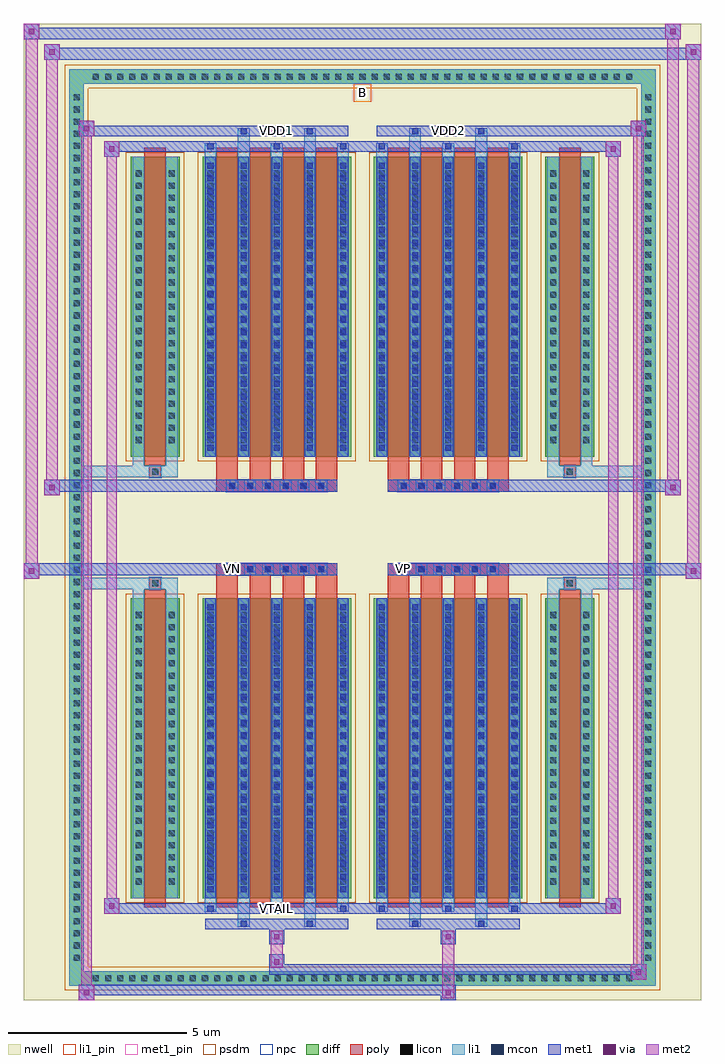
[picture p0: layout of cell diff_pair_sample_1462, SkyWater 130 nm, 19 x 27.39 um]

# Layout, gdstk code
import gdstk
lib = gdstk.Library(unit=1e-6, precision=5e-09)
def R(c, l, rs):  # rectangles x0, y0, x1, y1
    for r in rs: c.add(gdstk.rectangle(r[:2], r[2:], *l))
def A(c, l, x, y, w, h, nx, ny, dx, dy):  # array of equal rectangles
    R(c, l, [(x+i*dx, y+j*dy, x+i*dx+w, y+j*dy+h) for i in range(nx) for j in range(ny)])
def P(c, l, *ps):  # polygons
    for p in ps: c.add(gdstk.Polygon(p, *l))
nwell = (64, 20)
diff = (65, 20)
poly = (66, 20)
licon = (66, 44)
li1_pin = (67, 16)
li1 = (67, 20)
mcon = (67, 44)
met1_pin = (68, 16)
met1 = (68, 20)
via = (68, 44)
met2 = (69, 20)
psdm = (94, 20)
npc = (95, 20)

diff_pair_sample_1462 = lib.new_cell('diff_pair_sample_1462')
R(diff_pair_sample_1462, nwell, [(-9.5,-13.26,9.5,14.13), (-6.82,-11.45,-0.01,-0.805), (0.01,-11.45,6.82,-0.805), (-6.82,0.805,-0.01,11.45), (0.01,0.805,6.82,11.45)])
A(diff_pair_sample_1462, diff, -7.685, -12.86, 0.41, 0.41, 45, 2, 0.34, 25.31)
A(diff_pair_sample_1462, diff, -8.23, -12.275, 0.41, 0.41, 1, 72, 0, 0.34)
A(diff_pair_sample_1462, diff, 7.82, -12.275, 0.41, 0.41, 1, 72, 0, 0.34)
R(diff_pair_sample_1462, diff, [(-7.685,-12.86,7.685,-12.45), (-8.23,-12.275,-7.82,12.275), (7.82,-12.275,8.23,12.275), (-6.51,-10.405,-5.13,-1.985), (-4.49,-10.405,-0.32,-1.985), (0.32,-10.405,4.49,-1.985), (5.13,-10.405,6.51,-1.985), (-6.51,1.985,-5.13,10.405), (-4.49,1.985,-0.32,10.405), (0.32,1.985,4.49,10.405), (5.13,1.985,6.51,10.405), (-7.685,12.45,7.685,12.86)])
P(diff_pair_sample_1462, diff, [(8.23,12.86),(-8.23,12.86),(-8.23,-12.45),(-7.82,-12.45),(-7.82,12.45),(7.82,12.45),(7.82,-12.45),(-7.82,-12.45),(-8.23,-12.45),(-8.23,-12.86),(8.23,-12.86)])
A(diff_pair_sample_1462, poly, -4.1, -10.655, 0.6, 8.92, 4, 2, 0.93, 12.39)
A(diff_pair_sample_1462, poly, 0.71, -10.655, 0.6, 8.92, 4, 2, 0.93, 12.39)
A(diff_pair_sample_1462, poly, -4.1, -1.735, 0.6, 0.4, 4, 2, 0.93, 3.07)
A(diff_pair_sample_1462, poly, 0.71, -1.735, 0.6, 0.4, 4, 2, 0.93, 3.07)
A(diff_pair_sample_1462, poly, -3.82, -1.335, 0.33, 0.33, 6, 2, 0.5, 2.34)
A(diff_pair_sample_1462, poly, 0.99, -1.335, 0.33, 0.33, 6, 2, 0.5, 2.34)
R(diff_pair_sample_1462, poly, [(-6.12,-10.655,-5.52,-1.735), (5.52,-10.655,6.12,-1.735), (-5.985,-1.735,-5.655,-1.405), (-5.985,-1.735,-5.655,-1.405), (5.655,-1.735,5.985,-1.405), (5.655,-1.735,5.985,-1.405), (-4.1,-1.335,-0.71,-1.005), (0.71,-1.335,4.1,-1.005), (-4.1,1.005,-0.71,1.335), (0.71,1.005,4.1,1.335), (-5.985,1.405,-5.655,1.735), (-5.985,1.405,-5.655,1.735), (5.655,1.405,5.985,1.735), (5.655,1.405,5.985,1.735), (-6.12,1.735,-5.52,10.655), (5.52,1.735,6.12,10.655)])
A(diff_pair_sample_1462, licon, -7.565, -12.74, 0.17, 0.17, 45, 2, 0.34, 25.31)
A(diff_pair_sample_1462, licon, -8.11, -12.155, 0.17, 0.17, 1, 72, 0, 0.34)
A(diff_pair_sample_1462, licon, 7.94, -12.155, 0.17, 0.17, 1, 72, 0, 0.34)
A(diff_pair_sample_1462, licon, -6.37, -10.02, 0.17, 0.17, 1, 23, 0, 0.34)
A(diff_pair_sample_1462, licon, -5.44, -10.02, 0.17, 0.17, 1, 23, 0, 0.34)
A(diff_pair_sample_1462, licon, -4.35, -10.02, 0.17, 0.17, 5, 23, 0.93, 0.34)
A(diff_pair_sample_1462, licon, 0.46, -10.02, 0.17, 0.17, 5, 23, 0.93, 0.34)
A(diff_pair_sample_1462, licon, 5.27, -10.02, 0.17, 0.17, 1, 23, 0, 0.34)
A(diff_pair_sample_1462, licon, 6.2, -10.02, 0.17, 0.17, 1, 23, 0, 0.34)
A(diff_pair_sample_1462, licon, -3.74, -1.255, 0.17, 0.17, 6, 2, 0.5, 2.34)
A(diff_pair_sample_1462, licon, 1.07, -1.255, 0.17, 0.17, 6, 2, 0.5, 2.34)
A(diff_pair_sample_1462, licon, -6.37, 2.37, 0.17, 0.17, 1, 23, 0, 0.34)
A(diff_pair_sample_1462, licon, -5.44, 2.37, 0.17, 0.17, 1, 23, 0, 0.34)
A(diff_pair_sample_1462, licon, -4.35, 2.37, 0.17, 0.17, 5, 23, 0.93, 0.34)
A(diff_pair_sample_1462, licon, 0.46, 2.37, 0.17, 0.17, 5, 23, 0.93, 0.34)
A(diff_pair_sample_1462, licon, 5.27, 2.37, 0.17, 0.17, 1, 23, 0, 0.34)
A(diff_pair_sample_1462, licon, 6.2, 2.37, 0.17, 0.17, 1, 23, 0, 0.34)
R(diff_pair_sample_1462, licon, [(-5.905,-1.655,-5.735,-1.485), (5.735,-1.655,5.905,-1.485), (-5.905,1.485,-5.735,1.655), (5.735,1.485,5.905,1.655)])
R(diff_pair_sample_1462, li1_pin, [(-0.25,11.95,0.25,12.45)])
A(diff_pair_sample_1462, li1, -7.645, -12.82, 0.33, 0.33, 45, 2, 0.34, 25.31)
A(diff_pair_sample_1462, li1, -8.19, -12.235, 0.33, 0.33, 1, 72, 0, 0.34)
A(diff_pair_sample_1462, li1, 7.86, -12.235, 0.33, 0.33, 1, 72, 0, 0.34)
A(diff_pair_sample_1462, li1, -4.43, -10.78, 0.33, 0.375, 3, 2, 1.86, 21.185)
A(diff_pair_sample_1462, li1, -4.35, -10.78, 0.17, 0.17, 3, 2, 1.86, 21.39)
A(diff_pair_sample_1462, li1, 0.38, -10.78, 0.33, 0.375, 3, 2, 1.86, 21.185)
A(diff_pair_sample_1462, li1, 0.46, -10.78, 0.17, 0.17, 3, 2, 1.86, 21.39)
A(diff_pair_sample_1462, li1, -4.43, -10.405, 0.33, 8.42, 5, 2, 0.93, 12.39)
A(diff_pair_sample_1462, li1, 0.38, -10.405, 0.33, 8.42, 5, 2, 0.93, 12.39)
A(diff_pair_sample_1462, li1, -4.35, -10.24, 0.17, 0.17, 5, 23, 0.93, 0.36)
A(diff_pair_sample_1462, li1, -4.35, -10.24, 0.17, 8.09, 5, 2, 0.93, 12.39)
A(diff_pair_sample_1462, li1, 0.46, -10.24, 0.17, 0.17, 5, 23, 0.93, 0.36)
A(diff_pair_sample_1462, li1, 0.46, -10.24, 0.17, 8.09, 5, 2, 0.93, 12.39)
A(diff_pair_sample_1462, li1, -6.45, -10.1, 0.33, 0.33, 1, 23, 0, 0.34)
A(diff_pair_sample_1462, li1, -5.52, -10.1, 0.33, 0.33, 1, 23, 0, 0.34)
A(diff_pair_sample_1462, li1, -4.43, -10.1, 0.33, 0.33, 5, 23, 0.93, 0.34)
A(diff_pair_sample_1462, li1, 0.38, -10.1, 0.33, 0.33, 5, 23, 0.93, 0.34)
A(diff_pair_sample_1462, li1, 5.19, -10.1, 0.33, 0.33, 1, 23, 0, 0.34)
A(diff_pair_sample_1462, li1, 6.12, -10.1, 0.33, 0.33, 1, 23, 0, 0.34)
A(diff_pair_sample_1462, li1, -3.82, -1.335, 0.33, 0.33, 6, 2, 0.5, 2.34)
A(diff_pair_sample_1462, li1, 0.99, -1.335, 0.33, 0.33, 6, 2, 0.5, 2.34)
A(diff_pair_sample_1462, li1, -4.35, 2.15, 0.17, 0.17, 5, 23, 0.93, 0.36)
A(diff_pair_sample_1462, li1, 0.46, 2.15, 0.17, 0.17, 5, 23, 0.93, 0.36)
A(diff_pair_sample_1462, li1, -6.45, 2.29, 0.33, 0.33, 1, 23, 0, 0.34)
A(diff_pair_sample_1462, li1, -5.52, 2.29, 0.33, 0.33, 1, 23, 0, 0.34)
A(diff_pair_sample_1462, li1, -4.43, 2.29, 0.33, 0.33, 5, 23, 0.93, 0.34)
A(diff_pair_sample_1462, li1, 0.38, 2.29, 0.33, 0.33, 5, 23, 0.93, 0.34)
A(diff_pair_sample_1462, li1, 5.19, 2.29, 0.33, 0.33, 1, 23, 0, 0.34)
A(diff_pair_sample_1462, li1, 6.12, 2.29, 0.33, 0.33, 1, 23, 0, 0.34)
R(diff_pair_sample_1462, li1, [(-8.23,-12.86,-7.82,-12.45), (-8.23,-12.86,-7.82,-12.45), (-7.82,-12.86,7.82,-12.45), (7.82,-12.86,8.23,-12.45), (7.82,-12.86,8.23,-12.45), (-8.23,-12.45,-7.82,12.45), (7.82,-12.45,8.23,12.45), (-3.5,-11.21,-3.17,-10.405), (-3.42,-11.21,-3.25,-11.04), (-1.64,-11.21,-1.31,-10.405), (-1.56,-11.21,-1.39,-11.04), (1.31,-11.21,1.64,-10.405), (1.39,-11.21,1.56,-11.04), (3.17,-11.21,3.5,-10.405), (3.25,-11.21,3.42,-11.04), (-6.45,-10.405,-6.12,-1.985), (-5.52,-10.405,-5.19,-1.985), (5.19,-10.405,5.52,-1.985), (6.12,-10.405,6.45,-1.985), (-6.45,-1.985,-6.12,-1.405), (-5.52,-1.985,-5.19,-1.405), (5.19,-1.985,5.52,-1.405), (6.12,-1.985,6.45,-1.405), (-8.23,-1.735,-5.985,-1.405), (-6.45,-1.735,-5.985,-1.405), (-5.985,-1.735,-5.655,-1.405), (-5.655,-1.735,-5.19,-1.405), (5.19,-1.735,5.655,-1.405), (5.655,-1.735,5.985,-1.405), (5.655,-1.735,8.23,-1.405), (5.985,-1.735,6.45,-1.405), (-8.23,1.405,-5.985,1.735), (-6.45,1.405,-5.985,1.735), (-6.45,1.405,-6.12,1.985), (-5.985,1.405,-5.655,1.735), (-5.655,1.405,-5.19,1.735), (-5.52,1.405,-5.19,1.985), (5.19,1.405,5.655,1.735), (5.19,1.405,5.52,1.985), (5.655,1.405,5.985,1.735), (5.655,1.405,8.23,1.735), (5.985,1.405,6.45,1.735), (6.12,1.405,6.45,1.985), (-6.45,1.985,-6.12,10.405), (-5.52,1.985,-5.19,10.405), (5.19,1.985,5.52,10.405), (6.12,1.985,6.45,10.405), (-3.5,10.405,-3.17,11.21), (-1.64,10.405,-1.31,11.21), (1.31,10.405,1.64,11.21), (3.17,10.405,3.5,11.21), (-3.42,11.04,-3.25,11.21), (-1.56,11.04,-1.39,11.21), (1.39,11.04,1.56,11.21), (3.25,11.04,3.42,11.21), (-8.23,12.45,-7.82,12.86), (-8.23,12.45,-7.82,12.86), (-7.82,12.45,7.82,12.86), (7.82,12.45,8.23,12.86), (7.82,12.45,8.23,12.86)])
A(diff_pair_sample_1462, mcon, -4.35, -10.78, 0.17, 0.17, 3, 2, 1.86, 21.39)
A(diff_pair_sample_1462, mcon, 0.46, -10.78, 0.17, 0.17, 3, 2, 1.86, 21.39)
A(diff_pair_sample_1462, mcon, -4.35, -10.24, 0.17, 0.17, 5, 23, 0.93, 0.36)
A(diff_pair_sample_1462, mcon, 0.46, -10.24, 0.17, 0.17, 5, 23, 0.93, 0.36)
A(diff_pair_sample_1462, mcon, -3.74, -1.255, 0.17, 0.17, 6, 2, 0.5, 2.34)
A(diff_pair_sample_1462, mcon, 1.07, -1.255, 0.17, 0.17, 6, 2, 0.5, 2.34)
A(diff_pair_sample_1462, mcon, -4.35, 2.15, 0.17, 0.17, 5, 23, 0.93, 0.36)
A(diff_pair_sample_1462, mcon, 0.46, 2.15, 0.17, 0.17, 5, 23, 0.93, 0.36)
R(diff_pair_sample_1462, mcon, [(-3.42,-11.21,-3.25,-11.04), (-1.56,-11.21,-1.39,-11.04), (1.39,-11.21,1.56,-11.04), (3.25,-11.21,3.42,-11.04), (-3.42,11.04,-3.25,11.21), (-1.56,11.04,-1.39,11.21), (1.39,11.04,1.56,11.21), (3.25,11.04,3.42,11.21)])
R(diff_pair_sample_1462, met1_pin, [(-2.54,-10.82,-2.27,-10.55), (-3.79,-1.295,-3.52,-1.025), (1.02,-1.295,1.29,-1.025), (-2.54,11,-2.27,11.27), (2.27,11,2.54,11.27)])
A(diff_pair_sample_1462, met1, -4.41, -10.84, 0.29, 0.29, 3, 2, 1.86, 21.39)
A(diff_pair_sample_1462, met1, 0.4, -10.84, 0.29, 0.29, 3, 2, 1.86, 21.39)
A(diff_pair_sample_1462, met1, -4.41, -10.405, 0.29, 8.42, 5, 2, 0.93, 12.39)
A(diff_pair_sample_1462, met1, 0.4, -10.405, 0.29, 8.42, 5, 2, 0.93, 12.39)
A(diff_pair_sample_1462, met1, -4.41, -10.3, 0.29, 0.29, 5, 23, 0.93, 0.36)
A(diff_pair_sample_1462, met1, 0.4, -10.3, 0.29, 0.29, 5, 23, 0.93, 0.36)
A(diff_pair_sample_1462, met1, -3.8, -1.315, 0.29, 0.29, 6, 2, 0.5, 2.34)
A(diff_pair_sample_1462, met1, 1.01, -1.315, 0.29, 0.29, 6, 2, 0.5, 2.34)
A(diff_pair_sample_1462, met1, -4.41, 2.09, 0.29, 0.29, 5, 23, 0.93, 0.36)
A(diff_pair_sample_1462, met1, 0.4, 2.09, 0.29, 0.29, 5, 23, 0.93, 0.36)
R(diff_pair_sample_1462, met1, [(-7.96,-13.26,-7.53,-12.83), (2.19,-13.26,2.62,-12.83), (-7.96,-13.12,2.62,-12.83), (7.53,-12.69,7.96,-12.26), (-2.62,-12.55,7.96,-12.26), (-2.62,-12.41,-2.19,-11.98), (-2.62,-11.7,-2.19,-11.27), (2.19,-11.7,2.62,-11.27), (-4.41,-11.27,-0.4,-10.98), (-3.48,-11.27,-3.19,-10.98), (-1.62,-11.27,-1.33,-10.98), (0.4,-11.27,4.41,-10.98), (1.33,-11.27,1.62,-10.98), (3.19,-11.27,3.48,-10.98), (-7.25,-10.84,-6.82,-10.41), (-7.25,-10.84,-4.41,-10.55), (-4.41,-10.84,-0.4,-10.55), (-0.4,-10.84,0.4,-10.55), (0.4,-10.84,4.41,-10.55), (4.41,-10.84,7.25,-10.55), (6.82,-10.84,7.25,-10.41), (-9.5,-1.435,-9.07,-1.005), (9.07,-1.435,9.5,-1.005), (-9.5,-1.335,-0.71,-1.005), (-4.1,-1.335,-0.71,-1.005), (0.71,-1.335,4.1,-1.005), (0.71,-1.335,9.5,-1.005), (-8.93,0.905,-8.5,1.335), (8.5,0.905,8.93,1.335), (-8.93,1.005,-4.1,1.335), (-4.1,1.005,-0.71,1.335), (0.71,1.005,4.1,1.335), (4.1,1.005,8.93,1.335), (-7.25,10.41,-6.82,10.84), (6.82,10.41,7.25,10.84), (-7.25,10.55,-4.41,10.84), (-4.41,10.55,-0.4,10.84), (-0.4,10.55,0.4,10.84), (0.4,10.55,4.41,10.84), (4.41,10.55,7.25,10.84), (-7.96,10.98,-7.53,11.41), (-7.96,10.98,-4.41,11.27), (-4.41,10.98,-0.4,11.27), (-3.48,10.98,-3.19,11.27), (-1.62,10.98,-1.33,11.27), (0.4,10.98,4.41,11.27), (1.33,10.98,1.62,11.27), (3.19,10.98,3.48,11.27), (4.41,10.98,7.96,11.27), (7.53,10.98,7.96,11.41), (-8.93,13.13,-8.5,13.56), (-8.93,13.13,-6.82,13.46), (-6.82,13.13,6.82,13.46), (6.82,13.13,9.5,13.46), (9.07,13.13,9.5,13.56), (-9.5,13.7,-9.07,14.13), (-9.5,13.7,-6.82,14.03), (-6.82,13.7,6.82,14.03), (6.82,13.7,8.93,14.03), (8.5,13.7,8.93,14.13)])
R(diff_pair_sample_1462, via, [(-7.82,-13.12,-7.67,-12.97), (2.33,-13.12,2.48,-12.97), (7.67,-12.55,7.82,-12.4), (-2.48,-12.27,-2.33,-12.12), (-2.48,-11.56,-2.33,-11.41), (2.33,-11.56,2.48,-11.41), (-7.11,-10.7,-6.96,-10.55), (6.96,-10.7,7.11,-10.55), (-9.36,-1.295,-9.21,-1.145), (9.21,-1.295,9.36,-1.145), (-8.79,1.045,-8.64,1.195), (8.64,1.045,8.79,1.195), (-7.11,10.55,-6.96,10.7), (6.96,10.55,7.11,10.7), (-7.82,11.12,-7.67,11.27), (7.67,11.12,7.82,11.27), (-8.79,13.27,-8.64,13.42), (9.21,13.27,9.36,13.42), (-9.36,13.84,-9.21,13.99), (8.64,13.84,8.79,13.99)])
R(diff_pair_sample_1462, met2, [(-7.96,-13.26,-7.53,-12.83), (-7.89,-13.26,-7.6,11.41), (-7.6,-13.26,-7.53,-12.83), (-7.91,-13.21,-7.58,-12.88), (2.24,-13.21,2.57,-12.88), (2.24,-12.88,2.57,-11.65), (7.53,-12.69,7.96,-12.26), (7.6,-12.69,7.89,11.41), (7.89,-12.69,7.96,-12.26), (7.58,-12.64,7.91,-12.31), (-2.57,-12.36,-2.24,-12.03), (-2.57,-12.03,-2.24,-11.65), (-2.57,-11.65,-2.24,-11.32), (2.24,-11.65,2.57,-11.32), (-7.25,-10.84,-6.82,-10.41), (-7.18,-10.84,-6.89,10.84), (-6.89,-10.84,-6.82,-10.41), (6.82,-10.84,7.25,-10.41), (6.89,-10.84,7.18,10.84), (7.18,-10.84,7.25,-10.41), (-7.2,-10.79,-6.87,-10.46), (6.87,-10.79,7.2,-10.46), (-9.5,-1.435,-9.07,-1.005), (-9.45,-1.435,-9.12,14.13), (-9.12,-1.435,-9.07,-1.005), (9.07,-1.435,9.5,-1.005), (9.12,-1.435,9.45,13.56), (9.45,-1.435,9.5,-1.005), (-9.45,-1.385,-9.12,-1.055), (9.12,-1.385,9.45,-1.055), (-8.93,0.905,-8.5,1.335), (-8.88,0.905,-8.55,13.56), (-8.55,0.905,-8.5,1.335), (8.5,0.905,8.93,1.335), (8.55,0.905,8.88,14.13), (8.88,0.905,8.93,1.335), (-8.88,0.955,-8.55,1.285), (8.55,0.955,8.88,1.285), (-7.25,10.41,-6.82,10.84), (-6.89,10.41,-6.82,10.84), (6.82,10.41,7.25,10.84), (7.18,10.41,7.25,10.84), (-7.2,10.46,-6.87,10.79), (6.87,10.46,7.2,10.79), (-7.96,10.98,-7.53,11.41), (-7.6,10.98,-7.53,11.41), (7.53,10.98,7.96,11.41), (7.89,10.98,7.96,11.41), (-7.91,11.03,-7.58,11.36), (7.58,11.03,7.91,11.36), (-8.93,13.13,-8.5,13.56), (-8.55,13.13,-8.5,13.56), (9.07,13.13,9.5,13.56), (9.45,13.13,9.5,13.56), (-8.88,13.18,-8.55,13.51), (9.12,13.18,9.45,13.51), (-9.5,13.7,-9.07,14.13), (-9.12,13.7,-9.07,14.13), (8.5,13.7,8.93,14.13), (8.88,13.7,8.93,14.13), (-9.45,13.75,-9.12,14.08), (8.55,13.75,8.88,14.08)])
R(diff_pair_sample_1462, psdm, [(-6.64,-10.535,-5,-1.855), (-4.62,-10.535,-0.19,-1.855), (0.19,-10.535,4.62,-1.855), (5,-10.535,6.64,-1.855), (-6.64,1.855,-5,10.535), (-4.62,1.855,-0.19,10.535), (0.19,1.855,4.62,10.535), (5,1.855,6.64,10.535)])
P(diff_pair_sample_1462, psdm, [(8.36,12.99),(-8.36,12.99),(-8.36,-12.32),(-7.69,-12.32),(-7.69,12.32),(7.69,12.32),(7.69,-12.32),(-7.69,-12.32),(-8.36,-12.32),(-8.36,-12.99),(8.36,-12.99)])
A(diff_pair_sample_1462, npc, -3.84, -1.355, 0.37, 0.37, 6, 2, 0.5, 2.34)
A(diff_pair_sample_1462, npc, 0.97, -1.355, 0.37, 0.37, 6, 2, 0.5, 2.34)
R(diff_pair_sample_1462, npc, [(-6.005,-1.755,-5.635,-1.385), (5.635,-1.755,6.005,-1.385), (-3.84,-1.355,-2.97,-0.985), (-3.84,-1.355,-2.97,-0.985), (-3.34,-1.355,-2.47,-0.985), (-3.34,-1.355,-2.47,-0.985), (-2.84,-1.355,-1.97,-0.985), (-2.84,-1.355,-1.97,-0.985), (-2.34,-1.355,-1.47,-0.985), (-2.34,-1.355,-1.47,-0.985), (-1.84,-1.355,-0.97,-0.985), (-1.84,-1.355,-0.97,-0.985), (0.97,-1.355,1.84,-0.985), (0.97,-1.355,1.84,-0.985), (1.47,-1.355,2.34,-0.985), (1.47,-1.355,2.34,-0.985), (1.97,-1.355,2.84,-0.985), (1.97,-1.355,2.84,-0.985), (2.47,-1.355,3.34,-0.985), (2.47,-1.355,3.34,-0.985), (2.97,-1.355,3.84,-0.985), (2.97,-1.355,3.84,-0.985), (-3.84,0.985,-2.97,1.355), (-3.84,0.985,-2.97,1.355), (-3.34,0.985,-2.47,1.355), (-3.34,0.985,-2.47,1.355), (-2.84,0.985,-1.97,1.355), (-2.84,0.985,-1.97,1.355), (-2.34,0.985,-1.47,1.355), (-2.34,0.985,-1.47,1.355), (-1.84,0.985,-0.97,1.355), (-1.84,0.985,-0.97,1.355), (0.97,0.985,1.84,1.355), (0.97,0.985,1.84,1.355), (1.47,0.985,2.34,1.355), (1.47,0.985,2.34,1.355), (1.97,0.985,2.84,1.355), (1.97,0.985,2.84,1.355), (2.47,0.985,3.34,1.355), (2.47,0.985,3.34,1.355), (2.97,0.985,3.84,1.355), (2.97,0.985,3.84,1.355), (-6.005,1.385,-5.635,1.755), (5.635,1.385,6.005,1.755)])
diff_pair_sample_1462.add(gdstk.Label('VTAIL', (-2.405,-10.685), layer=68, texttype=5))
diff_pair_sample_1462.add(gdstk.Label('VN', (-3.655,-1.16), layer=68, texttype=5))
diff_pair_sample_1462.add(gdstk.Label('VP', (1.155,-1.16), layer=68, texttype=5))
diff_pair_sample_1462.add(gdstk.Label('B', (0,12.2), layer=67, texttype=5))
diff_pair_sample_1462.add(gdstk.Label('VDD2', (2.405,11.135), layer=68, texttype=5))
diff_pair_sample_1462.add(gdstk.Label('VDD1', (-2.405,11.135), layer=68, texttype=5))

lib.write_gds('diff_pair_sample_1462.gds')
